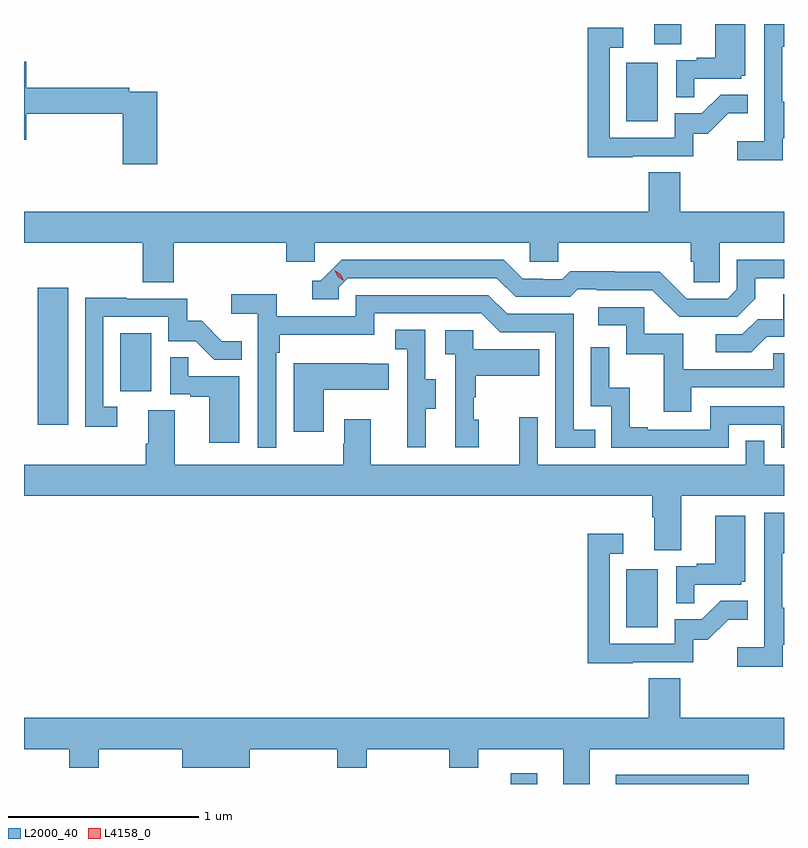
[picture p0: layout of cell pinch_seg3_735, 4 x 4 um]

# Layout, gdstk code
import gdstk
lib = gdstk.Library(unit=1e-6, precision=1e-09)
def R(c, l, rs):  # rectangles x0, y0, x1, y1
    for r in rs: c.add(gdstk.rectangle(r[:2], r[2:], *l))
def P(c, l, *ps):  # polygons
    for p in ps: c.add(gdstk.Polygon(p, *l))
L2000_40 = (2000, 40)
L4158_0 = (4158, 0)

pinch_seg3_735 = lib.new_cell('pinch_seg3_735')
R(pinch_seg3_735, L2000_40, [(867.785,738.028,867.925,738.085), (868.337,738.028,869.038,738.076), (868.394,738.852,868.558,739.159), (865.295,739.92,865.456,740.641), (865.73,740.094,865.894,740.401), (868.394,741.516,868.558,741.823), (868.541,741.922,868.681,742.028)])
P(pinch_seg3_735, L2000_40, [(869.216,741.426),(869.223,741.426),(869.223,741.619),(869.215,741.619),(869.215,741.907),(869.223,741.907),(869.223,742.028),(869.118,742.028),(869.118,741.412),(868.977,741.412),(868.977,741.31),(869.216,741.31)],
  [(868.751,741.741),(868.998,741.741),(868.998,741.756),(869.02,741.756),(869.02,742.028),(868.862,742.028),(868.862,741.85),(868.763,741.85),(868.763,741.837),(868.656,741.837),(868.656,741.643),(868.751,741.643)],
  [(868.427,741.333),(868.746,741.333),(868.746,741.45),(868.822,741.45),(868.929,741.557),(869.033,741.557),(869.033,741.656),(868.889,741.656),(868.791,741.558),(868.647,741.558),(868.647,741.429),(868.305,741.429),(868.305,741.903),(868.378,741.903),(868.378,742.009),(868.189,742.009),(868.189,741.328),(868.427,741.328)],
  [(865.925,741.672),(865.778,741.672),(865.778,741.692),(865.234,741.692),(865.234,741.829),(865.223,741.829),(865.223,741.419),(865.234,741.419),(865.234,741.556),(865.742,741.556),(865.742,741.291),(865.925,741.291)],
  [(866.012,740.876),(866.603,740.876),(866.603,740.778),(866.754,740.778),(866.754,740.876),(867.885,740.876),(867.885,740.778),(868.035,740.778),(868.035,740.876),(868.733,740.876),(868.733,740.778),(868.747,740.778),(868.747,740.668),(868.884,740.668),(868.884,740.876),(869.223,740.876),(869.223,741.04),(868.676,741.04),(868.676,741.248),(868.511,741.248),(868.511,741.04),(865.223,741.04),(865.223,740.876),(865.847,740.876),(865.847,740.668),(866.012,740.668)],
  [(869.071,740.581),(869.071,740.691),(869.223,740.691),(869.223,740.787),(868.974,740.787),(868.974,740.631),(868.926,740.583),(868.71,740.583),(868.568,740.725),(868.332,740.725),(868.332,740.728),(868.099,740.728),(868.057,740.685),(867.954,740.685),(867.954,740.688),(867.847,740.688),(867.748,740.787),(866.895,740.787),(866.784,740.676),(866.741,740.676),(866.741,740.58),(866.88,740.58),(866.88,740.643),(866.928,740.691),(867.711,740.691),(867.81,740.592),(868.099,740.592),(868.138,740.631),(868.237,740.631),(868.237,740.628),(868.53,740.628),(868.671,740.487),(868.977,740.487)],
  [(869.131,740.382),(869.223,740.382),(869.223,740.606),(869.219,740.606),(869.219,740.474),(869.084,740.474),(869.004,740.394),(868.863,740.394),(868.863,740.301),(869.05,740.301)],
  [(866.55,740.297),(866.57,740.297),(866.57,740.393),(867.066,740.393),(867.066,740.505),(867.63,740.505),(867.729,740.406),(868.02,740.406),(868.02,739.797),(868.229,739.797),(868.229,739.893),(868.116,739.893),(868.116,740.502),(867.766,740.502),(867.667,740.601),(866.97,740.601),(866.97,740.49),(866.552,740.49),(866.552,740.606),(866.313,740.606),(866.313,740.504),(866.454,740.504),(866.454,739.797),(866.55,739.797)],
  [(865.714,740.013),(865.641,740.013),(865.641,740.487),(865.983,740.487),(865.983,740.358),(866.127,740.358),(866.225,740.26),(866.369,740.26),(866.369,740.359),(866.265,740.359),(866.158,740.466),(866.082,740.466),(866.082,740.583),(865.763,740.583),(865.763,740.588),(865.545,740.588),(865.545,739.908),(865.714,739.908)],
  [(868.735,740.115),(869.223,740.115),(869.223,740.295),(869.167,740.295),(869.167,740.211),(868.693,740.211),(868.693,740.397),(868.488,740.397),(868.488,740.538),(868.245,740.538),(868.245,740.442),(868.392,740.442),(868.392,740.289),(868.591,740.289),(868.591,739.986),(868.735,739.986)],
  [(867.337,740.002),(867.391,740.002),(867.391,740.157),(867.336,740.157),(867.336,740.42),(867.177,740.42),(867.177,740.317),(867.24,740.317),(867.24,740.013),(867.239,740.013),(867.239,739.8),(867.337,739.8)],
  [(867.616,739.944),(867.591,739.944),(867.591,740.063),(867.601,740.063),(867.601,740.177),(867.935,740.177),(867.935,740.317),(867.588,740.317),(867.588,740.415),(867.441,740.415),(867.441,740.291),(867.492,740.291),(867.492,739.8),(867.616,739.8)],
  [(868.932,739.92),(869.208,739.92),(869.208,739.797),(869.223,739.797),(869.223,740.016),(868.836,740.016),(868.836,739.893),(868.507,739.893),(868.507,739.906),(868.412,739.906),(868.412,740.114),(868.302,740.114),(868.302,740.326),(868.206,740.326),(868.206,740.016),(868.314,740.016),(868.314,739.797),(868.932,739.797)],
  [(866.356,740.175),(866.087,740.175),(866.087,740.273),(865.992,740.273),(865.992,740.079),(866.099,740.079),(866.099,740.067),(866.198,740.067),(866.198,739.824),(866.356,739.824)],
  [(866.8,740.102),(867.143,740.102),(867.143,740.239),(867.035,740.239),(867.035,740.242),(866.642,740.242),(866.642,739.881),(866.8,739.881)],
  [(869.022,739.835),(869.022,739.708),(867.927,739.708),(867.927,739.957),(867.83,739.957),(867.83,739.708),(867.049,739.708),(867.049,739.948),(866.909,739.948),(866.909,739.82),(866.902,739.82),(866.902,739.708),(866.017,739.708),(866.017,739.994),(865.877,739.994),(865.877,739.82),(865.865,739.82),(865.865,739.708),(865.223,739.708),(865.223,739.544),(868.529,739.544),(868.529,739.432),(868.541,739.432),(868.541,739.258),(868.681,739.258),(868.681,739.544),(869.223,739.544),(869.223,739.708),(869.118,739.708),(869.118,739.835)],
  [(869.216,738.762),(869.223,738.762),(869.223,738.955),(869.215,738.955),(869.215,739.243),(869.223,739.243),(869.223,739.456),(869.118,739.456),(869.118,738.748),(868.977,738.748),(868.977,738.646),(869.216,738.646)],
  [(868.751,739.077),(868.998,739.077),(868.998,739.092),(869.02,739.092),(869.02,739.441),(868.862,739.441),(868.862,739.186),(868.763,739.186),(868.763,739.173),(868.656,739.173),(868.656,738.979),(868.751,738.979)],
  [(868.427,738.669),(868.746,738.669),(868.746,738.786),(868.822,738.786),(868.929,738.893),(869.033,738.893),(869.033,738.992),(868.889,738.992),(868.791,738.894),(868.647,738.894),(868.647,738.765),(868.305,738.765),(868.305,739.239),(868.378,739.239),(868.378,739.345),(868.189,739.345),(868.189,738.664),(868.427,738.664)],
  [(868.201,738.212),(869.223,738.212),(869.223,738.376),(868.676,738.376),(868.676,738.584),(868.511,738.584),(868.511,738.376),(865.223,738.376),(865.223,738.212),(865.462,738.212),(865.462,738.113),(865.617,738.113),(865.617,738.212),(866.057,738.212),(866.057,738.113),(866.41,738.113),(866.41,738.212),(866.872,738.212),(866.872,738.113),(867.027,738.113),(867.027,738.212),(867.46,738.212),(867.46,738.113),(867.615,738.113),(867.615,738.212),(868.061,738.212),(868.061,738.028),(868.201,738.028)])
P(pinch_seg3_735, L4158_0, [(866.905,740.678),(866.875,740.698),(866.859,740.731),(866.859,740.731),(866.859,740.731),(866.89,740.711),(866.906,740.679),(866.906,740.678)])

lib.write_gds('pinch_seg3_735.gds')
